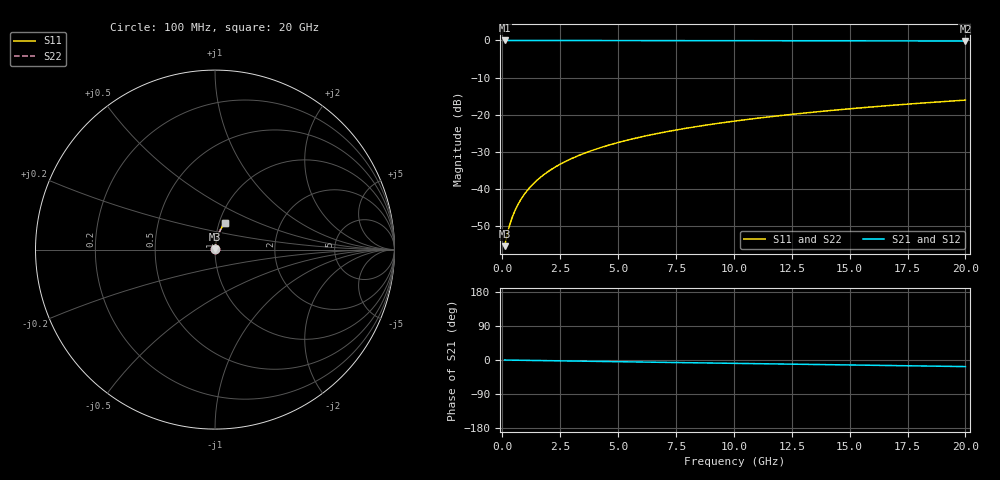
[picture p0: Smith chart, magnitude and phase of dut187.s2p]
! Touchstone file exported from HFSS 2026.1.0
!  File:  C:/ffzhzh/LocalFiles/Ansys_Project_Files/temp_train_TMRDL_187_1782983746_40604.aedt
!  Generated:  05:16:54 PM Jul  2, 2026
!  Design:  TMRDL
!  Project:  temp_train_TMRDL_187_1782983746_40604
! Variables:
!  h_bsmrdl = 2um
!  h_ox = 20um
!  h_rdl = 5um
!  h_sub = 80um
!  h_tmrdl = 5um
!  h_tsv = 80um
!  h_via = 3um
!  l_bsmrdl = 300um
!  l_sub = 649.68um
!  l_tmrdl = 249.68um
!  m_sub = 200um
!  pitch = 30.8um
!  r_tsv = 6um
!  s_tmrdl = 10um
!  w_bsmrdl = 18um
!  w_sub = 500um
!  w_tmrdl = 13.72um
!  x_tsv_center1 = 256.54um
!  x_tsv_center2 = 574.54um
!  x_tsv_center3 = 837.94um
!  x_tsv_center4 = 1155.94um
!  x_tsv_center5 = 1419.34um
!  x_tsv_center6 = 1737.34um
# GHz S MA R 50.000000
! Terminal data exported
! Port[1] = TM_RDL1_1_T1
! Port[2] = TM_RDL1_1_T2
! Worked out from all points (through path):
!   200 points, 100 MHz to 20 GHz, reference 50 ohm
!   highest |S21| = -0.01 dB at 100 MHz (marker M1); lowest = -0.2 dB at 20 GHz (marker M2)
!   group delay of S21, straight-line fit = 2.41 ps
!   lowest |S11| = -55.5 dB at 100 MHz (marker M3), VSWR 1.00, Z = 50.1 + j0.0936 ohm
!   |S11| at or under -10 dB: start of sweep to end of sweep
!   |S22| runs from -55.5 to -16.1 dB; largest |S21 - S12| = 2.9e-15
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0.1  0.001688 33.6  0.9986 -0.1  0.9986 -0.1  0.001688 33.6
! Gamma 0 0 0 0
! Port Impedance 50 0 50 0
0.2  0.002348 51.4  0.9985 -0.2  0.9985 -0.2  0.002348 51.4
0.3  0.003106 60.6  0.9985 -0.3  0.9985 -0.3  0.003106 60.6
0.4  0.003895 66.1  0.9984 -0.4  0.9984 -0.4  0.003895 66.1
0.5  0.004698 69.8  0.9984 -0.5  0.9984 -0.5  0.004699 69.8
0.6  0.005513 72.4  0.9984 -0.6  0.9984 -0.6  0.005513 72.4
0.8  0.007164 75.9  0.9983 -0.7  0.9983 -0.7  0.007164 75.9
1.1  0.009674 78.7  0.9982 -1.0  0.9982 -1.0  0.009674 78.7
1.3  0.01136 79.9  0.9982 -1.2  0.9982 -1.2  0.01136 79.9
1.6  0.01389 80.9  0.9981 -1.5  0.9981 -1.5  0.01389 80.9
2.1  0.01811 81.8  0.9978 -1.9  0.9978 -1.9  0.01811 81.8
2.7  0.02314 82.1  0.9975 -2.4  0.9975 -2.4  0.02314 82.1
3.5  0.02979 82.1  0.9971 -3.2  0.9971 -3.2  0.02979 82.1
4.2  0.03554 81.8  0.9966 -3.8  0.9966 -3.8  0.03554 81.8
5  0.04205 81.3  0.996 -4.5  0.996 -4.5  0.04205 81.3
5.9  0.0493 80.8  0.9954 -5.3  0.9954 -5.3  0.0493 80.8
6.8  0.05648 80.1  0.9947 -6.1  0.9947 -6.1  0.05648 80.1
8.3  0.06831 79.1  0.9935 -7.4  0.9935 -7.4  0.06831 79.1
10.1  0.08235 77.8  0.9919 -8.9  0.9919 -8.9  0.08236 77.8
13.4  0.1077 75.3  0.9887 -11.8  0.9887 -11.8  0.1077 75.3
16.7  0.1325 72.8  0.9851 -14.6  0.9851 -14.6  0.1325 72.8
20  0.1568 70.2  0.981 -17.4  0.981 -17.4  0.1568 70.2
